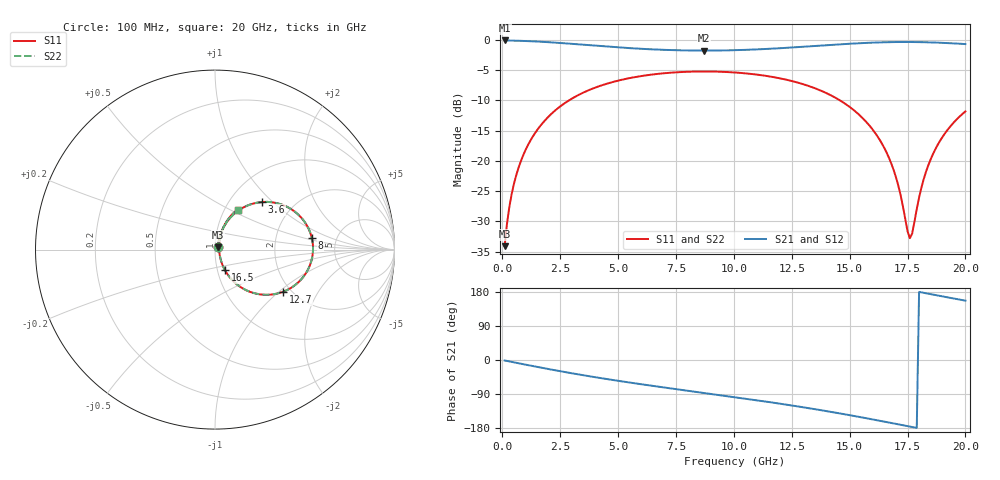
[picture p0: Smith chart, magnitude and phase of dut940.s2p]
! Touchstone file exported from HFSS 2026.1.0
!  File:  C:/ffzhzh/LocalFiles/Ansys_Project_Files/temp_train_TSV_RDL_940_1783281741_39728.aedt
!  Generated:  04:13:11 AM Jul  6, 2026
!  Design:  TSV_RDL
!  Project:  temp_train_TSV_RDL_940_1783281741_39728
! Variables:
!  h_bsmrdl = 5.7um
!  h_ox = 20um
!  h_rdl = 5um
!  h_sub = 55.41um
!  h_tmrdl = 4.8um
!  h_tsv = 55.41um
!  h_via = 3um
!  l_bsmrdl = 218.26um
!  l_sub = 3558.56um
!  l_tmrdl = 594.49um
!  m_sub = 200um
!  pitch = 45.41um
!  r_tsv = 4.29um
!  s_tmrdl = 10um
!  w_bsmrdl = 24.25um
!  w_sub = 500um
!  w_tmrdl = 17.69um
!  x_tsv_center1 = 603.335um
!  x_tsv_center2 = 845.845um
!  x_tsv_center3 = 1458.025um
!  x_tsv_center4 = 1700.535um
!  x_tsv_center5 = 2312.715um
!  x_tsv_center6 = 2555.225um
# GHz S MA R 50.000000
! Terminal data exported
! Port[1] = TM_RDL1_1_T1
! Port[2] = TM_RDL5_1_T1
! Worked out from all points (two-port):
!   200 points, 100 MHz to 20 GHz, reference 50 ohm
!   highest |S21| = -0.13 dB at 100 MHz (marker M1); lowest = -1.8 dB at 8.7 GHz (marker M2)
!   |S21| within 3 dB of the highest: start of sweep to end of sweep
!   lowest |S11| = -34.1 dB at 100 MHz (marker M3), VSWR 1.04, Z = 51.5 + j1.31 ohm
!   |S11| at or under -10 dB: start of sweep to 2.891 GHz; 14.57 GHz to end of sweep
!   |S22| runs from -34.1 to -5.3 dB; largest |S21 - S12| = 3.5e-14
!   S11 on the Smith chart (normalised r, x): 100 MHz: 1.03, +0.03; 3.6 GHz: 1.40, +0.86; 8 GHz: 3.25, +0.61; 12.7 GHz: 1.81, -1.06; 16.5 GHz: 1.09, -0.25; 20 GHz: 1.15, +0.55
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0.1  0.01972 40.1  0.9851 -1.3  0.9851 -1.3  0.01972 40.1
! Gamma 0 0 0 0
! Port Impedance 50 0 50 0
0.3  0.04106 63.5  0.9834 -3.7  0.9834 -3.7  0.04106 63.5
0.5  0.06411 68.9  0.9815 -6.2  0.9815 -6.2  0.06411 68.9
1.1  0.1338 69.0  0.9734 -13.4  0.9734 -13.4  0.1338 69.0
2.1  0.2421 60.2  0.9505 -25.1  0.9505 -25.1  0.2421 60.2
3.5  0.3656 46.3  0.9081 -40.2  0.9081 -40.2  0.3656 46.3
3.6  0.3731 45.3  0.905 -41.3  0.905 -41.3  0.3731 45.3
6.8  0.5239 16.7  0.8266 -70.9  0.8266 -70.9  0.5239 16.7
8  0.5432 7.0  0.8145 -81.0  0.8145 -81.0  0.5432 7.0
8.7  0.5464 1.4  0.8125 -86.9  0.8125 -86.9  0.5464 1.4
10.1  0.535 -9.9  0.8194 -98.6  0.8194 -98.6  0.5349 -9.8
12.7  0.4454 -31.9  0.8664 -121.9  0.8664 -121.9  0.4453 -31.9
13.4  0.4038 -38.3  0.8843 -128.7  0.8843 -128.7  0.4038 -38.2
15.3  0.2505 -55.9  0.932 -148.9  0.932 -148.9  0.2505 -55.9
16.5  0.1274 -64.2  0.952 -162.6  0.952 -162.6  0.1274 -64.1
16.7  0.1058 -64.3  0.9539 -165.0  0.9539 -165.0  0.1058 -64.3
17.1  0.06265 -60.0  0.9563 -169.7  0.9563 -169.7  0.06268 -59.9
17.6  0.02296 -0.7  0.9567 -175.6  0.9567 -175.6  0.02309 -0.6
18.1  0.06 64.5  0.954 178.4  0.954 178.4  0.06006 64.4
18.5  0.1028 69.5  0.9496 173.7  0.9496 173.7  0.1028 69.5
19.1  0.1666 67.7  0.9399 166.8  0.9399 166.8  0.1667 67.7
20  0.2557 60.6  0.9197 156.7  0.9197 156.7  0.2557 60.6
